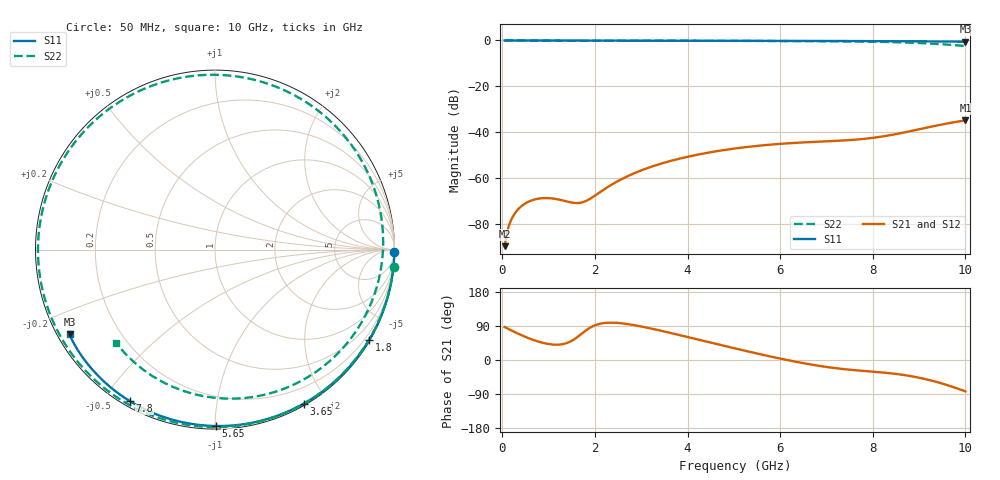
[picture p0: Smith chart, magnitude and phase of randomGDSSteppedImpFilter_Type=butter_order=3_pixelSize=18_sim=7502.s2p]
! freq	dB(S11)	phase(S11)	dB(S12)	phase(S12)
!  dB(S21)	phase(S21)	dB(S22)	phase(S22)
!S-par simulation data
#  GHz  S  DB  R 50
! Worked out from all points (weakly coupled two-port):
!   200 points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, 50 MHz to 10 GHz, reference 50 ohm
!   highest |S21| = -34.90 dB at 10 GHz (marker M1); lowest = -89.7 dB at 50 MHz (marker M2)
!   lowest |S11| = -0.6 dB at 10 GHz (marker M3), VSWR 31.33, Z = 1.71 - j13.5 ohm
!   |S11| at or under -10 dB: nowhere
!   |S22| runs from -2.4 to 0.0 dB; largest |S21 - S12| = 0
!   S11 on the Smith chart (normalised r, x): 50 MHz: open; 1.8 GHz: 0.03, -3.69; 3.65 GHz: 0.02, -1.73; 5.65 GHz: 0.02, -1.01; 7.8 GHz: 0.02, -0.58; 10 GHz: 0.03, -0.27
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0.05  -0.00 -0.9  -89.74 86.9  -89.74 86.9  -0.00 -5.4
0.15  -0.00 -2.6  -80.30 80.8  -80.30 80.8  -0.02 -16.1
0.3  -0.01 -5.1  -74.65 71.9  -74.65 71.9  -0.05 -31.7
0.45  -0.01 -7.7  -71.72 63.6  -71.72 63.6  -0.07 -46.6
0.8  -0.02 -13.6  -68.94 47.7  -68.94 47.7  -0.09 -77.7
1.2  -0.03 -20.4  -69.31 40.4  -69.31 40.4  -0.10 -106.6
1.75  -0.04 -29.5  -70.47 72.8  -70.47 72.8  -0.11 -137.1
1.8  -0.04 -30.3  -70.07 77.5  -70.07 77.5  -0.11 -139.5
2.55  -0.06 -42.6  -60.77 97.2  -60.77 97.2  -0.12 -170.1
3.4  -0.07 -56.1  -53.91 78.0  -53.91 78.0  -0.13 161.8
3.65  -0.08 -60.0  -52.47 70.9  -52.47 70.9  -0.14 154.1
5.05  -0.12 -81.0  -47.06 29.9  -47.06 29.9  -0.19 112.2
5.65  -0.15 -89.7  -45.70 13.0  -45.70 13.0  -0.22 93.3
6.2  -0.18 -97.5  -44.83 -1.3  -44.83 -1.3  -0.26 74.9
6.7  -0.20 -104.4  -44.28 -12.6  -44.28 -12.6  -0.31 56.8
7.25  -0.24 -111.9  -43.76 -22.3  -43.76 -22.3  -0.38 35.2
7.8  -0.28 -119.3  -42.95 -28.8  -42.95 -28.8  -0.50 11.3
8.35  -0.33 -126.7  -41.41 -34.6  -41.41 -34.6  -0.70 -15.7
8.8  -0.37 -132.8  -39.62 -42.1  -39.62 -42.1  -0.96 -41.0
9.3  -0.43 -139.6  -37.45 -55.4  -37.45 -55.4  -1.41 -74.3
9.65  -0.48 -144.5  -36.05 -67.9  -36.05 -67.9  -1.86 -102.5
10  -0.55 -149.7  -34.90 -82.8  -34.90 -82.8  -2.41 -136.5
